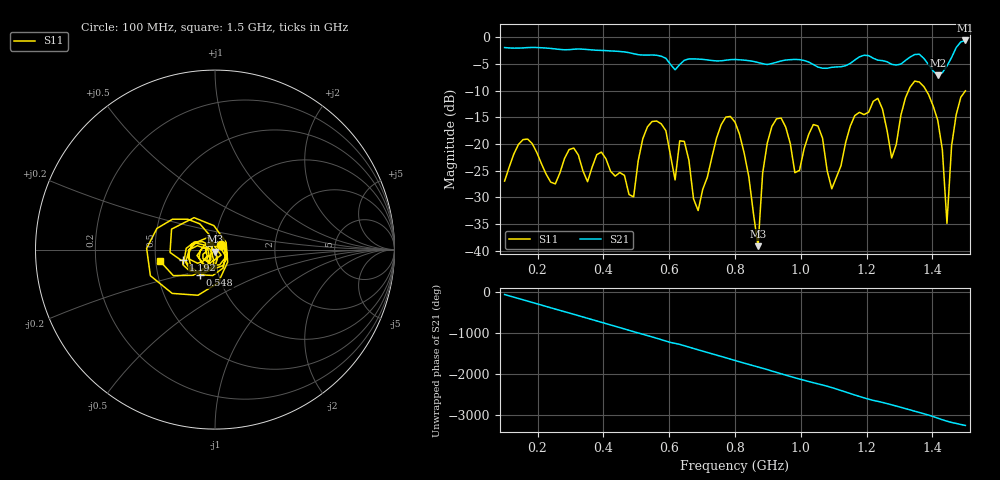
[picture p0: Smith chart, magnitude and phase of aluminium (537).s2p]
! NanoVNA-App
! Date: 2025-09-25 14:59:27
! Start: 100MHz Stop: 1,5GHz Points: 101
! S-Parameter data: F S11 S21 S12 S22
# Hz S RI R 50
!  Frequency  S11_Real  S11_Imag  S21_Real  S21_Imag  S12_Real  S12_Imag  S22_Real  S22_Imag
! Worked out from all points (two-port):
!   101 points, 100 MHz to 1.5 GHz, reference 50 ohm
!   highest |S21| = -0.59 dB at 1.5 GHz (marker M1); lowest = -7.1 dB at 1.416 GHz (marker M2)
!   |S21| within 3 dB of the highest: start of sweep to 577.5 MHz; 1.46 GHz to end of sweep (the widest 2 of 4)
!   lowest |S11| = -39.2 dB at 870 MHz (marker M3), VSWR 1.02, Z = 50.2 - j1.08 ohm
!   |S11| at or under -10 dB: start of sweep to 1.327 GHz; 1.381 GHz to end of sweep
!   S12 and S22 are empty: the file has one direction only
!   S11 on the Smith chart (normalised r, x): 100 MHz: 1.07, +0.06; 548 MHz: 0.82, -0.24; 1.192 GHz: 0.69, -0.08; 1.5 GHz: 0.52, -0.07
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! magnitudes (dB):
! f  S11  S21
! 100 MHz  -27.0  -1.9
! 156 MHz  -19.2  -2.0
! 338 MHz  -25.1  -2.2
! 492 MHz  -29.9  -3.1
! 548 MHz  -15.8  -3.3
! 576 MHz  -16.2  -3.5
! 646 MHz  -19.5  -4.3
! 688 MHz  -32.5  -4.1
! 800 MHz  -15.9  -4.2
! 870 MHz  -39.2  -4.7
! 912 MHz  -16.7  -4.9
! 982 MHz  -25.4  -4.1
! 1.038 GHz  -16.4  -5.1
! 1.094 GHz  -28.4  -5.6
! 1.192 GHz  -14.5  -3.4
! 1.234 GHz  -11.5  -4.3
! 1.276 GHz  -22.6  -5.1
! 1.346 GHz  -8.2  -3.2
! 1.416 GHz  -15.6  -7.1
! 1.444 GHz  -34.9  -5.4
! 1.458 GHz  -20.4  -3.8
! 1.5 GHz  -10.0  -0.6
